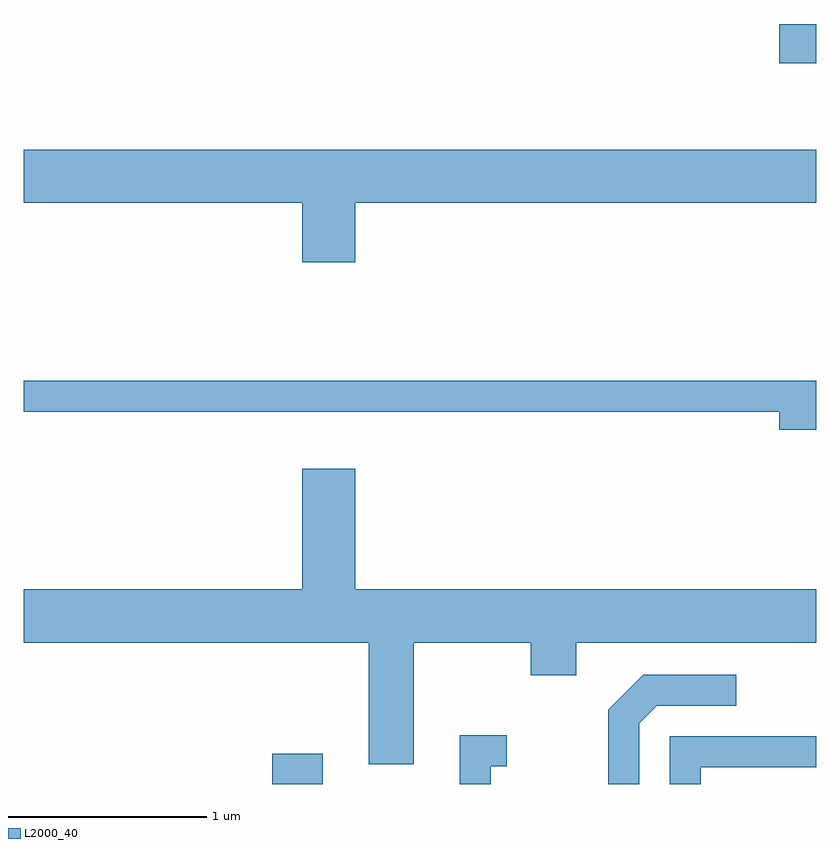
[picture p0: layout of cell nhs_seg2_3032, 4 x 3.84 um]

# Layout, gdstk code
import gdstk
lib = gdstk.Library(unit=1e-6, precision=1e-09)
def R(c, l, rs):  # rectangles x0, y0, x1, y1
    for r in rs: c.add(gdstk.rectangle(r[:2], r[2:], *l))
def P(c, l, *ps):  # polygons
    for p in ps: c.add(gdstk.Polygon(p, *l))
L2000_40 = (2000, 40)

nhs_seg2_3032 = lib.new_cell('nhs_seg2_3032')
R(nhs_seg2_3032, L2000_40, [(274.866,1069.802,275.119,1069.954), (277.426,1073.441,277.611,1073.639)])
P(nhs_seg2_3032, L2000_40, [(275.284,1072.736),(277.611,1072.736),(277.611,1073.004),(273.611,1073.004),(273.611,1072.736),(275.016,1072.736),(275.016,1072.436),(275.284,1072.436)],
  [(277.611,1071.839),(273.611,1071.839),(273.611,1071.681),(277.426,1071.681),(277.426,1071.591),(277.611,1071.591)],
  [(275.579,1070.516),(276.171,1070.516),(276.171,1070.351),(276.399,1070.351),(276.399,1070.516),(277.611,1070.516),(277.611,1070.784),(275.284,1070.784),(275.284,1071.394),(275.016,1071.394),(275.016,1070.784),(273.611,1070.784),(273.611,1070.516),(275.351,1070.516),(275.351,1069.901),(275.579,1069.901)],
  [(276.719,1070.109),(276.807,1070.196),(277.208,1070.196),(277.208,1070.354),(276.739,1070.354),(276.561,1070.177),(276.561,1069.802),(276.719,1069.802)],
  [(275.969,1069.891),(276.048,1069.891),(276.048,1070.049),(275.811,1070.049),(275.811,1069.802),(275.969,1069.802)],
  [(277.029,1069.886),(277.611,1069.886),(277.611,1070.044),(276.871,1070.044),(276.871,1069.802),(277.029,1069.802)])

lib.write_gds('nhs_seg2_3032.gds')
